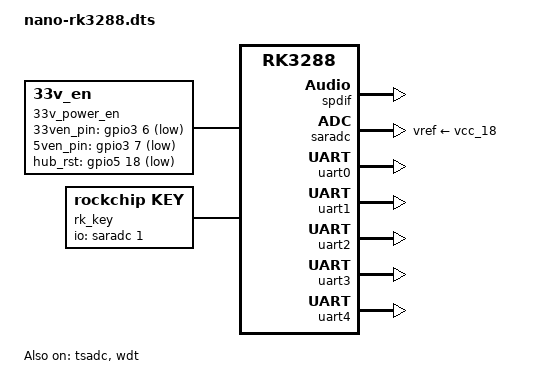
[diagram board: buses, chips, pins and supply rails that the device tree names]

#include "rk3288-rk808.dtsi"
#include "alc5640.dtsi"

//our screen for image
//#include "rp-lcd-hdmi.dtsi"
//#include "rp-lcd-hdmi-4k.dtsi"
//#include "rp-nano-lcd-mipi-4-480-800.dtsi"
//#include "rp-nano-lcd-mipi-5-720-1280.dtsi"
#include "rp-nano-lcd-mipi-5.5-720-1280.dtsi"
//#include "rp-nano-lcd-mipi-5.5-1080-1920.dtsi"
//#include "rp-nano-lcd-mipi-7-1024-600.dtsi"
//#include "rp-nano-lcd-mipi-7-800-1280.dtsi"
//#include "rp-nano-lcd-mipi-7-1200-1920.dtsi"
//#include "rp-nano-lcd-mipi-8-800-1280.dtsi"
//#include "rp-nano-lcd-mipi-8-800-1280-new.dtsi"
//#include "rp-nano-lcd-mipi-10.1-800-1280.dtsi"
//#include "rp-lcd-mipi-10.1-1920-1200.dtsi"
//#include "rp-lcd-edp-13.3-1920-1080.dtsi"
//#include "rp-lcd-lvds-10.1-1024-600.dtsi"
//#include "rp-lcd-dual-lvds.dtsi"
//#include "rp-lcd-dual-lcd-lvds-10-1024-600-and-mipi-10-800-1280.dtsi"
//#include "rp-dual-lcd-lvds-10-1024-and-mipi-10-1920.dtsi"

//batch line


//#include "rp-lcd-lvds-10-800-1280-qhfr.dtsi"
//#include "rp-lcd-lvds-7-1024-600.dtsi"
//#include "rp-lcd-lvds-8.1-1024-768.dtsi"
//#include "rp-lcd-lvds2rgb-4.3-480-272.dtsi"
//#include "rp-lcd-edp-15.6-1366-768-NT156WHM-N32-boe.dtsi"
//#include "rp-lcd-mipi-8-1200-1920.dtsi"
//#include "rp-lcd-dual-lvds-1920-1080.dtsi"
//#include "rp-lcd-mipi-5-480-854-50115D.dtsi"
//#include "rp-lcd-mipi-10-800-1280-jd9365-szrybkj.dtsi"
//#include "rp-lcd-mipi-8-800-1280-new-ILI9881.dtsi"
//#include "rp-lcd-dual-edp-1920-1080-mipi-1024-600.dtsi"




/ {
	
	fiq-debugger {
		compatible = "rockchip,fiq-debugger";
		interrupts = <GIC_SPI 155 IRQ_TYPE_LEVEL_HIGH>;
		rockchip,serial-id = <2>;
		rockchip,wake-irq = <0>;
		rockchip,irq-mode-enable = <0>;  /* If enable uart uses irq instead of fiq */
		rockchip,baudrate = <115200>;  /* Only 115200 and 1500000 */
		pinctrl-names = "default";
		pinctrl-0 = <&uart2_xfer>;
	};

	33v_power_en {
		compatible = "33v_en";
		33ven_pin =  <&gpio3 6  1>;
		5ven_pin =   <&gpio3 7  1>;
		//fan_pin =    <&gpio7 21 1>;
		hub_rst =    <&gpio5 18 1>;
		rp_not_deep_leep = <1>;
		status = "okay";
	};


	rp_gpio{
		status = "okay";
		compatible = "rp_gpio";

		gpio8a6 {
			gpio_num = <&gpio8 6 GPIO_ACTIVE_LOW>;
			gpio_function = <0>;		//0:output，1:input
		};
		gpio8a7 {
			gpio_num = <&gpio8 7 GPIO_ACTIVE_LOW>;
			gpio_function = <0>;		//0:output，1:input
		};
		gpio8b0 {
			gpio_num = <&gpio8 8 GPIO_ACTIVE_LOW>;
			gpio_function = <0>;		//0:output，1:input
		};
		gpio8b1 {
			gpio_num = <&gpio8 9 GPIO_ACTIVE_LOW>;
			gpio_function = <0>;		//0:output，1:input
		};
	};

	rk_key: rockchip-key {
		compatible = "rockchip,key";
		status = "okay";

		io-channels = <&saradc 1>;

		vol-up-key {
			linux,code = <115>;
			label = "volume up";
			rockchip,adc_value = <1>;
		};

		vol-down-key {
			linux,code = <114>;
			label = "volume down";
			rockchip,adc_value = <170>;
		};

		power-key {
			gpios = <&gpio0 5 GPIO_ACTIVE_LOW>;
			linux,code = <116>;
			pinctrl-names = "default";
			pinctrl-0 = <&pwrbtn>;
			label = "power";
			gpio-key,wakeup;
		};

		menu-key {
			linux,code = <59>;
			label = "menu";
			rockchip,adc_value = <355>;
		};

		home-key {
			linux,code = <102>;
			label = "home";
			rockchip,adc_value = <746>;
		};

		back-key {
			linux,code = <158>;
			label = "back";
			rockchip,adc_value = <560>;
		};

		camera-key {
			linux,code = <212>;
			label = "camera";
			rockchip,adc_value = <450>;
		};
	};


	spdif-sound {
		status = "okay";
		compatible = "simple-audio-card";
		simple-audio-card,format = "spdif";
		simple-audio-card,mclk-fs = <512>;
		simple-audio-card,name = "hdmi,spdif";
		simple-audio-card,cpu {
				sound-dai = <&spdif>;
		};
		simple-audio-card,codec {
				sound-dai = <&hdmi>;
		};
	};
};



&spdif {
	#sound-dai-cells = <0>;
	status = "okay";
};

&saradc {
	vref-supply = <&vcc_18>;
	status = "okay";
};


&tsadc {
	rockchip,hw-tshut-mode = <0>;
	rockchip,hw-tshut-polarity = <0>;
	rockchip,hw-tshut-temp = <850000>;
	status = "okay";
};


&uart0 {
	pinctrl-names = "default";
	pinctrl-0 = <&uart0_xfer>, <&uart0_cts>;
	status = "okay";
};

&uart1 {
	status = "okay";
};

&uart2 {
	status = "okay";
};

&uart3 {
	status = "okay";
};

&uart4 {
	status = "okay";
};

&wdt {
	status = "okay";
};


&pinctrl {
	buttons {
		pwrbtn: pwrbtn {
			rockchip,pins = <0 5 RK_FUNC_GPIO &pcfg_pull_up>;
		};
	};
};

&pwm1 {
        compatible = "rockchip,remotectl-pwm";
        interrupts = <GIC_SPI 78 IRQ_TYPE_LEVEL_HIGH>;
        remote_pwm_id = <1>;
        handle_cpu_id = <2>;
        status = "disabled";
        //status = "okay";

    ir_key0{
        rockchip,usercode = <0x9f00>;
        rockchip,key_table =
            <0xa8   KEY_POWER>,
            <0xe9   KEY_MENU>,
            <0xb0   KEY_BACK>,
            <0xb8   KEY_HOME>,
            <0x75   KEY_SYSRQ>,
            <0x00   KEY_VOLUMEUP>,
            <0xa2   KEY_VOLUMEDOWN>,
            <0xfd   KEY_ENTER>,
            <0xbc   KEY_UP>,
            <0xf5   KEY_DOWN>,
            <0xf9   KEY_LEFT>,
            <0xf1   KEY_RIGHT>;
            //<0x75   KEY_RIGHTALT>,
            //<0x75   KEY_TAB>,
    };
};


